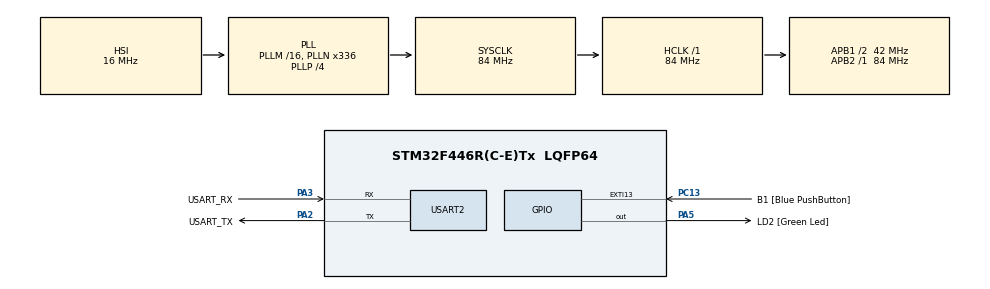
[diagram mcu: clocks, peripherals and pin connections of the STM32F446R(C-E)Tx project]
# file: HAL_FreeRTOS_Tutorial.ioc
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FREERTOS.Queues01=coolQueue,8,uint16_t,0,Dynamic,NULL,NULL
FREERTOS.Tasks01=defaultTask,24,128,StartDefaultTask,Default,NULL,Dynamic,NULL,NULL;queueAppendTask,8,128,StartQueueAppendTask,Default,NULL,Dynamic,NULL,NULL;queueRemoveTask,8,128,StartQueueRemoveTask,Default,NULL,Dynamic,NULL,NULL
Mcu.Family=STM32F4
Mcu.Name=STM32F446R(C-E)Tx
Mcu.Package=LQFP64
NVIC.PriorityGroup=NVIC_PRIORITYGROUP_4
PA13.GPIO_Label=TMS
PA13.Mode=Serial_Wire
PA13.Signal=SYS_JTMS-SWDIO
PA14.GPIO_Label=TCK
PA14.Mode=Serial_Wire
PA14.Signal=SYS_JTCK-SWCLK
PA2.GPIO_Label=USART_TX
PA2.Mode=Asynchronous
PA2.Signal=USART2_TX
PA3.GPIO_Label=USART_RX
PA3.Mode=Asynchronous
PA3.Signal=USART2_RX
PA5.GPIO_Label=LD2 [Green Led]
PA5.Signal=GPIO_Output
PB3.GPIO_Label=SWO
PB3.Signal=SYS_JTDO-SWO
PC13.GPIO_Label=B1 [Blue PushButton]
PC13.GPIO_ModeDefaultEXTI=GPIO_MODE_IT_FALLING
PC13.Signal=GPXTI13
PC14-OSC32_IN.Mode=LSE-External-Oscillator
PC14-OSC32_IN.Signal=RCC_OSC32_IN
PC15-OSC32_OUT.Mode=LSE-External-Oscillator
PC15-OSC32_OUT.Signal=RCC_OSC32_OUT
PH0-OSC_IN.Mode=HSE-External-Oscillator
PH0-OSC_IN.Signal=RCC_OSC_IN
PH1-OSC_OUT.Mode=HSE-External-Oscillator
PH1-OSC_OUT.Signal=RCC_OSC_OUT
ProjectManager.HeapSize=0x200
ProjectManager.StackSize=0x400
ProjectManager.TargetToolchain=STM32CubeIDE
RCC.48MHZClocksFreq_Value=84000000
RCC.AHBFreq_Value=84000000
RCC.APB1CLKDivider=RCC_HCLK_DIV2
RCC.APB1Freq_Value=42000000
RCC.APB1TimFreq_Value=84000000
RCC.APB2Freq_Value=84000000
RCC.APB2TimFreq_Value=84000000
RCC.CortexFreq_Value=84000000
RCC.FLatency-AdvancedSettings=FLASH_LATENCY_2
RCC.HCLKFreq_Value=84000000
RCC.HSE_VALUE=8000000
RCC.HSI_VALUE=16000000
RCC.PLLN=336
RCC.PLLP=RCC_PLLP_DIV4
RCC.SYSCLKFreq_VALUE=84000000
RCC.SYSCLKSource=RCC_SYSCLKSOURCE_PLLCLK
RCC.USBFreq_Value=168000000
RCC.VCOOutputFreq_Value=336000000
USART2.VirtualMode=VM_ASYNC
VP_FREERTOS_VS_CMSIS_V2.Mode=CMSIS_V2
board=NUCLEO-F446RE

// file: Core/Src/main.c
/* USER CODE BEGIN Header */
/**
  ******************************************************************************
  * @file           : main.c
  * @brief          : Main program body
  ******************************************************************************
  * @attention
  *
  * Copyright (c) 2024 STMicroelectronics.
  * All rights reserved.
  *
  * This software is licensed under terms that can be found in the LICENSE file
  * in the root directory of this software component.
  * If no LICENSE file comes with this software, it is provided AS-IS.
  *
  ******************************************************************************
  */
/* USER CODE END Header */
#include "main.h"
#include "cmsis_os.h"

UART_HandleTypeDef huart2;

/* Definitions for defaultTask */
osThreadId_t defaultTaskHandle;
const osThreadAttr_t defaultTask_attributes = {
  .name = "defaultTask",
  .stack_size = 128 * 4,
  .priority = (osPriority_t) osPriorityNormal,
};
/* Definitions for queueAppendTask */
osThreadId_t queueAppendTaskHandle;
const osThreadAttr_t queueAppendTask_attributes = {
  .name = "queueAppendTask",
  .stack_size = 128 * 4,
  .priority = (osPriority_t) osPriorityLow,
};
/* Definitions for queueRemoveTask */
osThreadId_t queueRemoveTaskHandle;
const osThreadAttr_t queueRemoveTask_attributes = {
  .name = "queueRemoveTask",
  .stack_size = 128 * 4,
  .priority = (osPriority_t) osPriorityLow,
};
/* Definitions for coolQueue */
osMessageQueueId_t coolQueueHandle;
const osMessageQueueAttr_t coolQueue_attributes = {
  .name = "coolQueue"
};

osMessageQueueId_t NewQueue;                // message queue id
/* USER CODE BEGIN PV */
 uint16_t dataSend = 0;
 const uint16_t MAX = 100;
 uint16_t dataReceived = 0;
 uint16_t queValue = 0;
 char new_char[5];

/* USER CODE END PV */

void SystemClock_Config(void);
static void MX_GPIO_Init(void);
static void MX_USART2_UART_Init(void);
void StartDefaultTask(void *argument);
void StartQueueAppendTask(void *argument);
void StartQueueRemoveTask(void *argument);

int main(void)
{

  /* MCU Configuration--------------------------------------------------------*/

  /* Reset of all peripherals, Initializes the Flash interface and the Systick. */
  HAL_Init();

  /* Configure the system clock */
  SystemClock_Config();

  /* Initialize all configured peripherals */
  MX_GPIO_Init();
  MX_USART2_UART_Init();

  /* Init scheduler */
  osKernelInitialize();

  /* Create the queue(s) */
  /* creation of coolQueue */
  coolQueueHandle = osMessageQueueNew (8, sizeof(uint16_t), &coolQueue_attributes);

  /* Create the thread(s) */
  /* creation of defaultTask */
  defaultTaskHandle = osThreadNew(StartDefaultTask, NULL, &defaultTask_attributes);

  /* creation of queueAppendTask */
  queueAppendTaskHandle = osThreadNew(StartQueueAppendTask, NULL, &queueAppendTask_attributes);

  /* creation of queueRemoveTask */
  queueRemoveTaskHandle = osThreadNew(StartQueueRemoveTask, NULL, &queueRemoveTask_attributes);

  /* Start scheduler */
  osKernelStart();

  /* We should never get here as control is now taken by the scheduler */

  /* Infinite loop */
  while (1)
  {

  }
}

void SystemClock_Config(void)
{
  RCC_OscInitTypeDef RCC_OscInitStruct = {0};
  RCC_ClkInitTypeDef RCC_ClkInitStruct = {0};

  /** Configure the main internal regulator output voltage
  */
  __HAL_RCC_PWR_CLK_ENABLE();
  __HAL_PWR_VOLTAGESCALING_CONFIG(PWR_REGULATOR_VOLTAGE_SCALE3);

  /** Initializes the RCC Oscillators according to the specified parameters
  * in the RCC_OscInitTypeDef structure.
  */
  RCC_OscInitStruct.OscillatorType = RCC_OSCILLATORTYPE_HSI;
  RCC_OscInitStruct.HSIState = RCC_HSI_ON;
  RCC_OscInitStruct.HSICalibrationValue = RCC_HSICALIBRATION_DEFAULT;
  RCC_OscInitStruct.PLL.PLLState = RCC_PLL_ON;
  RCC_OscInitStruct.PLL.PLLSource = RCC_PLLSOURCE_HSI;
  RCC_OscInitStruct.PLL.PLLM = 16;
  RCC_OscInitStruct.PLL.PLLN = 336;
  RCC_OscInitStruct.PLL.PLLP = RCC_PLLP_DIV4;
  RCC_OscInitStruct.PLL.PLLQ = 2;
  RCC_OscInitStruct.PLL.PLLR = 2;
  if (HAL_RCC_OscConfig(&RCC_OscInitStruct) != HAL_OK)
  {
    Error_Handler();
  }

  /** Initializes the CPU, AHB and APB buses clocks
  */
  RCC_ClkInitStruct.ClockType = RCC_CLOCKTYPE_HCLK|RCC_CLOCKTYPE_SYSCLK
                              |RCC_CLOCKTYPE_PCLK1|RCC_CLOCKTYPE_PCLK2;
  RCC_ClkInitStruct.SYSCLKSource = RCC_SYSCLKSOURCE_PLLCLK;
  RCC_ClkInitStruct.AHBCLKDivider = RCC_SYSCLK_DIV1;
  RCC_ClkInitStruct.APB1CLKDivider = RCC_HCLK_DIV2;
  RCC_ClkInitStruct.APB2CLKDivider = RCC_HCLK_DIV1;

  if (HAL_RCC_ClockConfig(&RCC_ClkInitStruct, FLASH_LATENCY_2) != HAL_OK)
  {
    Error_Handler();
  }
}

static void MX_USART2_UART_Init(void)
{

  huart2.Instance = USART2;
  huart2.Init.BaudRate = 115200;
  huart2.Init.WordLength = UART_WORDLENGTH_8B;
  huart2.Init.StopBits = UART_STOPBITS_1;
  huart2.Init.Parity = UART_PARITY_NONE;
  huart2.Init.Mode = UART_MODE_TX_RX;
  huart2.Init.HwFlowCtl = UART_HWCONTROL_NONE;
  huart2.Init.OverSampling = UART_OVERSAMPLING_16;
  if (HAL_UART_Init(&huart2) != HAL_OK)
  {
    Error_Handler();
  }

}

static void MX_GPIO_Init(void)
{
  GPIO_InitTypeDef GPIO_InitStruct = {0};

  /* GPIO Ports Clock Enable */
  __HAL_RCC_GPIOC_CLK_ENABLE();
  __HAL_RCC_GPIOH_CLK_ENABLE();
  __HAL_RCC_GPIOA_CLK_ENABLE();
  __HAL_RCC_GPIOB_CLK_ENABLE();

  /*Configure GPIO pin Output Level */
  HAL_GPIO_WritePin(LD2_GPIO_Port, LD2_Pin, GPIO_PIN_RESET);

  /*Configure GPIO pin : B1_Pin */
  GPIO_InitStruct.Pin = B1_Pin;
  GPIO_InitStruct.Mode = GPIO_MODE_IT_FALLING;
  GPIO_InitStruct.Pull = GPIO_NOPULL;
  HAL_GPIO_Init(B1_GPIO_Port, &GPIO_InitStruct);

  /*Configure GPIO pin : LD2_Pin */
  GPIO_InitStruct.Pin = LD2_Pin;
  GPIO_InitStruct.Mode = GPIO_MODE_OUTPUT_PP;
  GPIO_InitStruct.Pull = GPIO_NOPULL;
  GPIO_InitStruct.Speed = GPIO_SPEED_FREQ_LOW;
  HAL_GPIO_Init(LD2_GPIO_Port, &GPIO_InitStruct);

}

void StartDefaultTask(void *argument)
{
  for(;;)
  {
    osDelay(1);
  }
}

void StartQueueAppendTask(void *argument)
{
  /* USER CODE BEGIN StartQueueAppendTask */
  /* Infinite loop */
  for(;;)
  {

	  if(dataSend < MAX){
		  osMessageQueuePut(coolQueueHandle, &dataSend, 0, 0);

		  dataSend++;
	  }
	  else{
		  dataSend = 0;
	  }

	 // Data_Recived = 99;
    osDelay(pdMS_TO_TICKS(100));

  }
  /* USER CODE END StartQueueAppendTask */
}

void StartQueueRemoveTask(void *argument)
{
  /* USER CODE BEGIN StartQueueRemoveTask */
  /* Infinite loop */
  for(;;)
  {

		  osMessageQueueGet(coolQueueHandle, &dataReceived, 0, 0);

		  sprintf(new_char,"%d\r\n", dataReceived);

		  HAL_UART_Transmit(&huart2, new_char, 5, 10);

    osDelay( pdMS_TO_TICKS(100));
  }
  /* USER CODE END StartQueueRemoveTask */
}

void Error_Handler(void)
{
  /* USER CODE BEGIN Error_Handler_Debug */
  /* User can add his own implementation to report the HAL error return state */
  __disable_irq();
  while (10)
  {
  }
  /* USER CODE END Error_Handler_Debug */
}
